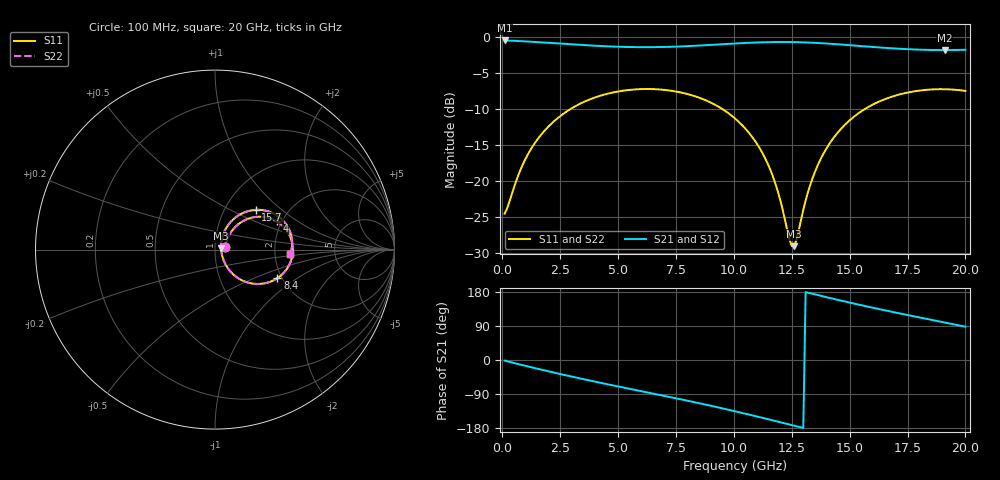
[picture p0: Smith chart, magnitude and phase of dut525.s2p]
! Touchstone file exported from HFSS 2026.1.0
!  File:  C:/ffzhzh/LocalFiles/Ansys_Project_Files/temp_train_TSV_RDL_525_1783111216_35180.aedt
!  Generated:  04:49:52 AM Jul  4, 2026
!  Design:  TSV_RDL
!  Project:  temp_train_TSV_RDL_525_1783111216_35180
! Variables:
!  h_bsmrdl = 4.49um
!  h_ox = 20um
!  h_rdl = 5um
!  h_sub = 74.77um
!  h_tmrdl = 2.28um
!  h_tsv = 74.77um
!  h_via = 3um
!  l_bsmrdl = 132.03um
!  l_sub = 4617.68um
!  l_tmrdl = 937.93um
!  m_sub = 200um
!  pitch = 21.2um
!  r_tsv = 4.06um
!  s_tmrdl = 10um
!  w_bsmrdl = 12.67um
!  w_sub = 500um
!  w_tmrdl = 10.62um
!  x_tsv_center1 = 943.24um
!  x_tsv_center2 = 1087.94um
!  x_tsv_center3 = 2036.49um
!  x_tsv_center4 = 2181.19um
!  x_tsv_center5 = 3129.74um
!  x_tsv_center6 = 3274.44um
# GHz S MA R 50.000000
! Terminal data exported
! Port[1] = TM_RDL1_1_T1
! Port[2] = TM_RDL5_1_T1
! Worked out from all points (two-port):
!   200 points, 100 MHz to 20 GHz, reference 50 ohm
!   highest |S21| = -0.51 dB at 100 MHz (marker M1); lowest = -1.8 dB at 19.1 GHz (marker M2)
!   |S21| within 3 dB of the highest: start of sweep to end of sweep
!   lowest |S11| = -29.1 dB at 12.6 GHz (marker M3), VSWR 1.07, Z = 53.6 + j0.769 ohm
!   |S11| at or under -10 dB: start of sweep to 2.967 GHz; 9.481 GHz to 15.68 GHz (6.2 GHz wide, 49.3 % of centre)
!   |S22| runs from -29.2 to -7.3 dB; largest |S21 - S12| = 1.6e-14
!   S11 on the Smith chart (normalised r, x): 100 MHz: 1.12, +0.03; 4 GHz: 1.88, +0.69; 8.4 GHz: 1.89, -0.71; 15.7 GHz: 1.39, +0.69; 20 GHz: 2.44, -0.14
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0.1  0.05895 11.8  0.9426 -1.6  0.9426 -1.6  0.05895 11.8
! Gamma 0 0 0 0
! Port Impedance 50 0 50 0
0.8  0.1205 46.7  0.9321 -12.5  0.9321 -12.5  0.1205 46.7
1.4  0.182 47.8  0.9204 -21.3  0.9204 -21.3  0.182 47.8
2.3  0.2644 41.8  0.9016 -34.2  0.9016 -34.2  0.2644 41.8
3.5  0.3512 29.9  0.876 -50.5  0.876 -50.5  0.3512 29.9
4  0.3785 24.6  0.8666 -57.1  0.8666 -57.1  0.3785 24.6
5.4  0.4258 9.3  0.8491 -74.8  0.8491 -74.8  0.4257 9.3
6.8  0.4303 -6.3  0.8482 -92.2  0.8482 -92.2  0.4303 -6.3
8.4  0.3823 -24.6  0.867 -112.7  0.867 -112.7  0.3823 -24.6
10.1  0.2664 -44.2  0.8988 -136.0  0.8988 -136.0  0.2663 -44.3
10.9  0.1904 -52.2  0.9115 -147.6  0.9115 -147.6  0.1903 -52.4
11.5  0.1272 -55.4  0.9176 -156.5  0.9176 -156.5  0.127 -55.6
11.9  0.08416 -52.7  0.9195 -162.6  0.9195 -162.6  0.08395 -53.0
12.4  0.03912 -21.9  0.9191 -170.2  0.9191 -170.2  0.03862 -22.2
12.6  0.03508 11.8  0.918 -173.2  0.918 -173.2  0.0345 12.0
13.4  0.1042 62.0  0.9089 174.7  0.9089 174.7  0.104 62.4
13.8  0.1467 62.1  0.9018 168.8  0.9018 168.8  0.1466 62.4
14.3  0.1978 58.8  0.8911 161.5  0.8911 161.5  0.1977 59.0
15.7  0.3176 44.2  0.8564 141.9  0.8564 141.9  0.3175 44.3
16.7  0.3775 32.9  0.8336 128.8  0.8336 128.8  0.3775 33.1
19.1  0.4321 6.5  0.8082 99.0  0.8082 99.0  0.432 6.7
20  0.4205 -3.3  0.8121 87.9  0.8121 87.9  0.4205 -3.1
